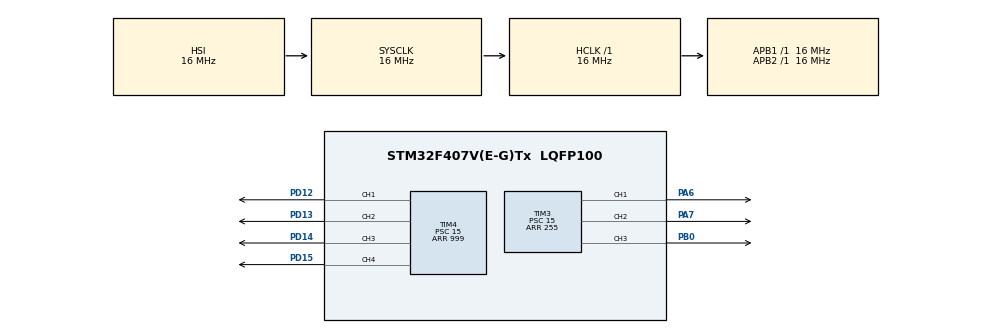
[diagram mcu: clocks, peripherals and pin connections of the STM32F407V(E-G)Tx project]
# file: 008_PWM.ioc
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Mcu.Family=STM32F4
Mcu.Name=STM32F407V(E-G)Tx
Mcu.Package=LQFP100
NVIC.PriorityGroup=NVIC_PRIORITYGROUP_4
PA6.Signal=S_TIM3_CH1
PA7.Signal=S_TIM3_CH2
PB0.Signal=S_TIM3_CH3
PD12.Signal=S_TIM4_CH1
PD13.Signal=S_TIM4_CH2
PD14.Signal=S_TIM4_CH3
PD15.Signal=S_TIM4_CH4
ProjectManager.HeapSize=0x200
ProjectManager.StackSize=0x400
ProjectManager.TargetToolchain=STM32CubeIDE
RCC.AHBFreq_Value=16000000
RCC.APB1Freq_Value=16000000
RCC.APB2Freq_Value=16000000
RCC.CortexFreq_Value=16000000
RCC.HSE_VALUE=25000000
RCC.HSI_VALUE=16000000
RCC.LSE_VALUE=32768
RCC.SYSCLKFreq_VALUE=16000000
RCC.VCOOutputFreq_Value=192000000
SH.S_TIM3_CH1.0=TIM3_CH1,PWM Generation1 CH1
SH.S_TIM3_CH2.0=TIM3_CH2,PWM Generation2 CH2
SH.S_TIM3_CH3.0=TIM3_CH3,PWM Generation3 CH3
SH.S_TIM4_CH1.0=TIM4_CH1,PWM Generation1 CH1
SH.S_TIM4_CH2.0=TIM4_CH2,PWM Generation2 CH2
SH.S_TIM4_CH3.0=TIM4_CH3,PWM Generation3 CH3
SH.S_TIM4_CH4.0=TIM4_CH4,PWM Generation4 CH4
TIM3.Channel-PWM\ Generation1\ CH1=TIM_CHANNEL_1
TIM3.Channel-PWM\ Generation2\ CH2=TIM_CHANNEL_2
TIM3.Channel-PWM\ Generation3\ CH3=TIM_CHANNEL_3
TIM3.Period=255
TIM3.Prescaler=15
TIM4.Channel-PWM\ Generation1\ CH1=TIM_CHANNEL_1
TIM4.Channel-PWM\ Generation2\ CH2=TIM_CHANNEL_2
TIM4.Channel-PWM\ Generation3\ CH3=TIM_CHANNEL_3
TIM4.Channel-PWM\ Generation4\ CH4=TIM_CHANNEL_4
TIM4.Period=999
TIM4.Prescaler=15
TIM4.Pulse-PWM\ Generation1\ CH1=249
TIM4.Pulse-PWM\ Generation2\ CH2=499
TIM4.Pulse-PWM\ Generation3\ CH3=749
TIM4.Pulse-PWM\ Generation4\ CH4=999
VP_TIM3_VS_ClockSourceINT.Mode=Internal
VP_TIM4_VS_ClockSourceINT.Mode=Internal
board=custom

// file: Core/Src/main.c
/* USER CODE BEGIN Header */
/**
  ******************************************************************************
  * @file           : main.c
  * @brief          : Main program body
  ******************************************************************************
  * @attention
  *
  * Copyright (c) 2026 STMicroelectronics.
  * All rights reserved.
  *
  * This software is licensed under terms that can be found in the LICENSE file
  * in the root directory of this software component.
  * If no LICENSE file comes with this software, it is provided AS-IS.
  *
  ******************************************************************************
  */
/* USER CODE END Header */
#include "main.h"

TIM_HandleTypeDef htim3;
TIM_HandleTypeDef htim4;

void SystemClock_Config(void);
static void MX_GPIO_Init(void);
static void MX_TIM4_Init(void);
static void MX_TIM3_Init(void);

/* USER CODE BEGIN 0 */
typedef struct
{
  uint8_t r, g, b;
} RGB_t;

static const RGB_t colors[] =
{
  {255,   0,   0},   /* kırmızı   */
  {255, 128,   0},   /* turuncu   */
  {255, 255,   0},   /* sarı      */
  {  0, 255,   0},   /* yeşil     */
  {  0, 255, 255},   /* camgöbeği */
  {  0,   0, 255},   /* mavi      */
  {128,   0, 255},   /* mor       */
  {255, 255, 255},   /* beyaz     */
};
#define COLOR_COUNT  (sizeof(colors) / sizeof(colors[0]))

void Set_RGB_Color(uint8_t red, uint8_t green, uint8_t blue)
{
  __HAL_TIM_SET_COMPARE(&htim3, TIM_CHANNEL_1, red);
  __HAL_TIM_SET_COMPARE(&htim3, TIM_CHANNEL_2, green);
  __HAL_TIM_SET_COMPARE(&htim3, TIM_CHANNEL_3, blue);
}

/* from renginden to rengine 'steps' adımda yumuşak geçiş */
void Fade_To_Color(RGB_t from, RGB_t to, uint16_t steps, uint32_t step_ms)
{
  for (uint16_t i = 0; i <= steps; i++)
  {
    uint8_t r = from.r + ((int32_t)(to.r - from.r) * i) / steps;
    uint8_t g = from.g + ((int32_t)(to.g - from.g) * i) / steps;
    uint8_t b = from.b + ((int32_t)(to.b - from.b) * i) / steps;

    Set_RGB_Color(r, g, b);
    HAL_Delay(step_ms);
  }
}

/* USER CODE END 0 */

int main(void)
{

  /* MCU Configuration--------------------------------------------------------*/

  /* Reset of all peripherals, Initializes the Flash interface and the Systick. */
  HAL_Init();

  /* Configure the system clock */
  SystemClock_Config();

  /* Initialize all configured peripherals */
  MX_GPIO_Init();
  MX_TIM4_Init();
  MX_TIM3_Init();
  /* USER CODE BEGIN 2 */
  HAL_TIM_PWM_Start(&htim3, TIM_CHANNEL_1);   /* R: PA6 */
  HAL_TIM_PWM_Start(&htim3, TIM_CHANNEL_2);   /* G: PA7 */
  HAL_TIM_PWM_Start(&htim3, TIM_CHANNEL_3);   /* B: PB0 */
  /* USER CODE END 2 */

  /* Infinite loop */
  while (1)
  {

    /* USER CODE BEGIN 3 */
    for (uint32_t k = 0; k < COLOR_COUNT; k++)
    {
      RGB_t from = colors[k];
      RGB_t to   = colors[(k + 1) % COLOR_COUNT];   /* sondan sonra başa döner */

      Fade_To_Color(from, to, 100, 10);   /* 100 adım × 10 ms ≈ 1 s geçiş */
      HAL_Delay(500);                     /* her renkte yarım saniye bekle */
    }
  }
  /* USER CODE END 3 */
}

void SystemClock_Config(void)
{
  RCC_OscInitTypeDef RCC_OscInitStruct = {0};
  RCC_ClkInitTypeDef RCC_ClkInitStruct = {0};

  /** Configure the main internal regulator output voltage
  */
  __HAL_RCC_PWR_CLK_ENABLE();
  __HAL_PWR_VOLTAGESCALING_CONFIG(PWR_REGULATOR_VOLTAGE_SCALE1);

  /** Initializes the RCC Oscillators according to the specified parameters
  * in the RCC_OscInitTypeDef structure.
  */
  RCC_OscInitStruct.OscillatorType = RCC_OSCILLATORTYPE_HSI;
  RCC_OscInitStruct.HSIState = RCC_HSI_ON;
  RCC_OscInitStruct.HSICalibrationValue = RCC_HSICALIBRATION_DEFAULT;
  RCC_OscInitStruct.PLL.PLLState = RCC_PLL_NONE;
  if (HAL_RCC_OscConfig(&RCC_OscInitStruct) != HAL_OK)
  {
    Error_Handler();
  }

  /** Initializes the CPU, AHB and APB buses clocks
  */
  RCC_ClkInitStruct.ClockType = RCC_CLOCKTYPE_HCLK|RCC_CLOCKTYPE_SYSCLK
                              |RCC_CLOCKTYPE_PCLK1|RCC_CLOCKTYPE_PCLK2;
  RCC_ClkInitStruct.SYSCLKSource = RCC_SYSCLKSOURCE_HSI;
  RCC_ClkInitStruct.AHBCLKDivider = RCC_SYSCLK_DIV1;
  RCC_ClkInitStruct.APB1CLKDivider = RCC_HCLK_DIV1;
  RCC_ClkInitStruct.APB2CLKDivider = RCC_HCLK_DIV1;

  if (HAL_RCC_ClockConfig(&RCC_ClkInitStruct, FLASH_LATENCY_0) != HAL_OK)
  {
    Error_Handler();
  }
}

static void MX_TIM3_Init(void)
{

  TIM_ClockConfigTypeDef sClockSourceConfig = {0};
  TIM_MasterConfigTypeDef sMasterConfig = {0};
  TIM_OC_InitTypeDef sConfigOC = {0};

  htim3.Instance = TIM3;
  htim3.Init.Prescaler = 15;
  htim3.Init.CounterMode = TIM_COUNTERMODE_UP;
  htim3.Init.Period = 255;
  htim3.Init.ClockDivision = TIM_CLOCKDIVISION_DIV1;
  htim3.Init.AutoReloadPreload = TIM_AUTORELOAD_PRELOAD_DISABLE;
  if (HAL_TIM_Base_Init(&htim3) != HAL_OK)
  {
    Error_Handler();
  }
  sClockSourceConfig.ClockSource = TIM_CLOCKSOURCE_INTERNAL;
  if (HAL_TIM_ConfigClockSource(&htim3, &sClockSourceConfig) != HAL_OK)
  {
    Error_Handler();
  }
  if (HAL_TIM_PWM_Init(&htim3) != HAL_OK)
  {
    Error_Handler();
  }
  sMasterConfig.MasterOutputTrigger = TIM_TRGO_RESET;
  sMasterConfig.MasterSlaveMode = TIM_MASTERSLAVEMODE_DISABLE;
  if (HAL_TIMEx_MasterConfigSynchronization(&htim3, &sMasterConfig) != HAL_OK)
  {
    Error_Handler();
  }
  sConfigOC.OCMode = TIM_OCMODE_PWM1;
  sConfigOC.Pulse = 0;
  sConfigOC.OCPolarity = TIM_OCPOLARITY_HIGH;
  sConfigOC.OCFastMode = TIM_OCFAST_DISABLE;
  if (HAL_TIM_PWM_ConfigChannel(&htim3, &sConfigOC, TIM_CHANNEL_1) != HAL_OK)
  {
    Error_Handler();
  }
  if (HAL_TIM_PWM_ConfigChannel(&htim3, &sConfigOC, TIM_CHANNEL_2) != HAL_OK)
  {
    Error_Handler();
  }
  if (HAL_TIM_PWM_ConfigChannel(&htim3, &sConfigOC, TIM_CHANNEL_3) != HAL_OK)
  {
    Error_Handler();
  }
  HAL_TIM_MspPostInit(&htim3);

}

static void MX_TIM4_Init(void)
{

  TIM_ClockConfigTypeDef sClockSourceConfig = {0};
  TIM_MasterConfigTypeDef sMasterConfig = {0};
  TIM_OC_InitTypeDef sConfigOC = {0};

  htim4.Instance = TIM4;
  htim4.Init.Prescaler = 15;
  htim4.Init.CounterMode = TIM_COUNTERMODE_UP;
  htim4.Init.Period = 999;
  htim4.Init.ClockDivision = TIM_CLOCKDIVISION_DIV1;
  htim4.Init.AutoReloadPreload = TIM_AUTORELOAD_PRELOAD_DISABLE;
  if (HAL_TIM_Base_Init(&htim4) != HAL_OK)
  {
    Error_Handler();
  }
  sClockSourceConfig.ClockSource = TIM_CLOCKSOURCE_INTERNAL;
  if (HAL_TIM_ConfigClockSource(&htim4, &sClockSourceConfig) != HAL_OK)
  {
    Error_Handler();
  }
  if (HAL_TIM_PWM_Init(&htim4) != HAL_OK)
  {
    Error_Handler();
  }
  sMasterConfig.MasterOutputTrigger = TIM_TRGO_RESET;
  sMasterConfig.MasterSlaveMode = TIM_MASTERSLAVEMODE_DISABLE;
  if (HAL_TIMEx_MasterConfigSynchronization(&htim4, &sMasterConfig) != HAL_OK)
  {
    Error_Handler();
  }
  sConfigOC.OCMode = TIM_OCMODE_PWM1;
  sConfigOC.Pulse = 249;
  sConfigOC.OCPolarity = TIM_OCPOLARITY_HIGH;
  sConfigOC.OCFastMode = TIM_OCFAST_DISABLE;
  if (HAL_TIM_PWM_ConfigChannel(&htim4, &sConfigOC, TIM_CHANNEL_1) != HAL_OK)
  {
    Error_Handler();
  }
  sConfigOC.Pulse = 499;
  if (HAL_TIM_PWM_ConfigChannel(&htim4, &sConfigOC, TIM_CHANNEL_2) != HAL_OK)
  {
    Error_Handler();
  }
  sConfigOC.Pulse = 749;
  if (HAL_TIM_PWM_ConfigChannel(&htim4, &sConfigOC, TIM_CHANNEL_3) != HAL_OK)
  {
    Error_Handler();
  }
  sConfigOC.Pulse = 999;
  if (HAL_TIM_PWM_ConfigChannel(&htim4, &sConfigOC, TIM_CHANNEL_4) != HAL_OK)
  {
    Error_Handler();
  }
  HAL_TIM_MspPostInit(&htim4);

}

static void MX_GPIO_Init(void)
{

  /* GPIO Ports Clock Enable */
  __HAL_RCC_GPIOA_CLK_ENABLE();
  __HAL_RCC_GPIOB_CLK_ENABLE();
  __HAL_RCC_GPIOD_CLK_ENABLE();

}

void Error_Handler(void)
{
  __disable_irq();
  while (1)
  {
  }
}
